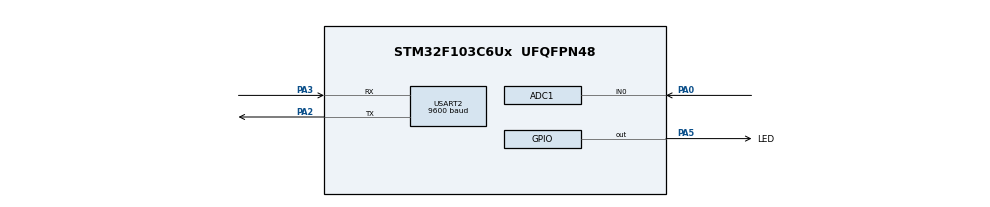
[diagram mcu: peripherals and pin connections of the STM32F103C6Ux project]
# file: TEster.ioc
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ADC1.Channel-0\#ChannelRegularConversion=ADC_CHANNEL_0
ADC1.ContinuousConvMode=ENABLE
ADC1.NbrOfConversionFlag=1
ADC1.Rank-0\#ChannelRegularConversion=1
ADC1.SamplingTime-0\#ChannelRegularConversion=ADC_SAMPLETIME_1CYCLE_5
ADC1.master=1
Mcu.Family=STM32F1
Mcu.Name=STM32F103C6Ux
Mcu.Package=UFQFPN48
NVIC.ADC1_2_IRQn=true\:0\:0\:false\:false\:true\:true\:true
NVIC.PriorityGroup=NVIC_PRIORITYGROUP_4
NVIC.TIM2_IRQn=true\:0\:0\:false\:false\:true\:true\:true
NVIC.USART2_IRQn=true\:0\:0\:false\:false\:true\:true\:true
PA0-WKUP.Signal=ADCx_IN0
PA2.Mode=Asynchronous
PA2.Signal=USART2_TX
PA3.Mode=Asynchronous
PA3.Signal=USART2_RX
PA5.GPIO_Label=LED
PA5.Signal=GPIO_Output
PD0-OSC_IN.Mode=HSE-External-Oscillator
PD0-OSC_IN.Signal=RCC_OSC_IN
PD1-OSC_OUT.Mode=HSE-External-Oscillator
PD1-OSC_OUT.Signal=RCC_OSC_OUT
ProjectManager.HeapSize=0x200
ProjectManager.StackSize=0x400
ProjectManager.TargetToolchain=STM32CubeIDE
RCC.APB1Freq_Value=8000000
RCC.APB2Freq_Value=8000000
SH.ADCx_IN0.0=ADC1_IN0,IN0
TIM2.Period=9
TIM2.Prescaler=7999
USART2.BaudRate=9600
USART2.VirtualMode=VM_ASYNC
VP_SYS_VS_ND.Mode=No_Debug
VP_TIM2_VS_ClockSourceINT.Mode=Internal
board=custom

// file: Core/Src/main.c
/* USER CODE BEGIN Header */
/**
  ******************************************************************************
  * @file           : main.c
  * @brief          : Main program body
  ******************************************************************************
  * @attention
  *
  * <h2><center>&copy; Copyright (c) 2023 STMicroelectronics.
  * All rights reserved.</center></h2>
  *
  * This software component is licensed by ST under BSD 3-Clause license,
  * the "License"; You may not use this file except in compliance with the
  * License. You may obtain a copy of the License at:
  *                        opensource.org/licenses/BSD-3-Clause
  *
  ******************************************************************************
  */
/* USER CODE END Header */
#include "main.h"

/* USER CODE BEGIN Includes */
#include "comand_parser.h"
#include "uart_communication.h"
#include "software_timer.h"
#include "global.h"
/* USER CODE END Includes */

ADC_HandleTypeDef hadc1;

TIM_HandleTypeDef htim2;

UART_HandleTypeDef huart2;

void SystemClock_Config(void);
static void MX_GPIO_Init(void);
static void MX_USART2_UART_Init(void);
static void MX_TIM2_Init(void);
static void MX_ADC1_Init(void);

/* USER CODE BEGIN 0 */
uint8_t index_buffer;
uint8_t temp;
uint8_t buffer[256];
uint8_t is_begin;
uint8_t buffer_flag;

void HAL_UART_RxCpltCallback ( UART_HandleTypeDef * huart ){
	if(huart->Instance == USART2){
		buffer[index_buffer++] = temp;
		if(index_buffer == MAX_BUFFER_SIZE) index_buffer = 0;

		if(temp == '!')
			is_begin = 1;

		if(temp == '#' && is_begin){
			is_begin = 0;
			buffer_flag = 1;
		}

		HAL_UART_Receive_IT(&huart2 ,&temp, 1);

	}
}
/* USER CODE END 0 */

int main(void)
{

  /* MCU Configuration--------------------------------------------------------*/

  /* Reset of all peripherals, Initializes the Flash interface and the Systick. */
  HAL_Init();

  /* Configure the system clock */
  SystemClock_Config();

  /* Initialize all configured peripherals */
  MX_GPIO_Init();
  MX_USART2_UART_Init();
  MX_TIM2_Init();
  MX_ADC1_Init();
  /* USER CODE BEGIN 2 */

  HAL_UART_Receive_IT(&huart2, &temp, 1);
  HAL_ADC_Start(&hadc1);
  HAL_TIM_Base_Start_IT(&htim2);

  index_buffer = 0;

  /* USER CODE END 2 */

  /* Infinite loop */
  /* USER CODE BEGIN WHILE */
  set_timer_blink_led(13);
  while (1)
  {
    /* USER CODE END WHILE */

    /* USER CODE BEGIN 3 */

	  if(buffer_flag == 1) {
		  command_parser_fsm();
		  buffer_flag = 0;
	  }

	  uart_communiation_fsm();

	  if(get_timer_blink_led()){
		  set_timer_blink_led(100);
		  HAL_GPIO_TogglePin(LED_GPIO_Port, LED_Pin);
	  }
  }
  /* USER CODE END 3 */
}

void SystemClock_Config(void)
{
  RCC_OscInitTypeDef RCC_OscInitStruct = {0};
  RCC_ClkInitTypeDef RCC_ClkInitStruct = {0};
  RCC_PeriphCLKInitTypeDef PeriphClkInit = {0};

  /** Initializes the RCC Oscillators according to the specified parameters
  * in the RCC_OscInitTypeDef structure.
  */
  RCC_OscInitStruct.OscillatorType = RCC_OSCILLATORTYPE_HSI;
  RCC_OscInitStruct.HSIState = RCC_HSI_ON;
  RCC_OscInitStruct.HSICalibrationValue = RCC_HSICALIBRATION_DEFAULT;
  RCC_OscInitStruct.PLL.PLLState = RCC_PLL_NONE;
  if (HAL_RCC_OscConfig(&RCC_OscInitStruct) != HAL_OK)
  {
    Error_Handler();
  }
  /** Initializes the CPU, AHB and APB buses clocks
  */
  RCC_ClkInitStruct.ClockType = RCC_CLOCKTYPE_HCLK|RCC_CLOCKTYPE_SYSCLK
                              |RCC_CLOCKTYPE_PCLK1|RCC_CLOCKTYPE_PCLK2;
  RCC_ClkInitStruct.SYSCLKSource = RCC_SYSCLKSOURCE_HSI;
  RCC_ClkInitStruct.AHBCLKDivider = RCC_SYSCLK_DIV1;
  RCC_ClkInitStruct.APB1CLKDivider = RCC_HCLK_DIV1;
  RCC_ClkInitStruct.APB2CLKDivider = RCC_HCLK_DIV1;

  if (HAL_RCC_ClockConfig(&RCC_ClkInitStruct, FLASH_LATENCY_0) != HAL_OK)
  {
    Error_Handler();
  }
  PeriphClkInit.PeriphClockSelection = RCC_PERIPHCLK_ADC;
  PeriphClkInit.AdcClockSelection = RCC_ADCPCLK2_DIV2;
  if (HAL_RCCEx_PeriphCLKConfig(&PeriphClkInit) != HAL_OK)
  {
    Error_Handler();
  }
}

static void MX_ADC1_Init(void)
{

  ADC_ChannelConfTypeDef sConfig = {0};

  /** Common config
  */
  hadc1.Instance = ADC1;
  hadc1.Init.ScanConvMode = ADC_SCAN_DISABLE;
  hadc1.Init.ContinuousConvMode = ENABLE;
  hadc1.Init.DiscontinuousConvMode = DISABLE;
  hadc1.Init.ExternalTrigConv = ADC_SOFTWARE_START;
  hadc1.Init.DataAlign = ADC_DATAALIGN_RIGHT;
  hadc1.Init.NbrOfConversion = 1;
  if (HAL_ADC_Init(&hadc1) != HAL_OK)
  {
    Error_Handler();
  }
  /** Configure Regular Channel
  */
  sConfig.Channel = ADC_CHANNEL_0;
  sConfig.Rank = ADC_REGULAR_RANK_1;
  sConfig.SamplingTime = ADC_SAMPLETIME_1CYCLE_5;
  if (HAL_ADC_ConfigChannel(&hadc1, &sConfig) != HAL_OK)
  {
    Error_Handler();
  }

}

static void MX_TIM2_Init(void)
{

  TIM_ClockConfigTypeDef sClockSourceConfig = {0};
  TIM_MasterConfigTypeDef sMasterConfig = {0};

  htim2.Instance = TIM2;
  htim2.Init.Prescaler = 7999;
  htim2.Init.CounterMode = TIM_COUNTERMODE_UP;
  htim2.Init.Period = 9;
  htim2.Init.ClockDivision = TIM_CLOCKDIVISION_DIV1;
  htim2.Init.AutoReloadPreload = TIM_AUTORELOAD_PRELOAD_DISABLE;
  if (HAL_TIM_Base_Init(&htim2) != HAL_OK)
  {
    Error_Handler();
  }
  sClockSourceConfig.ClockSource = TIM_CLOCKSOURCE_INTERNAL;
  if (HAL_TIM_ConfigClockSource(&htim2, &sClockSourceConfig) != HAL_OK)
  {
    Error_Handler();
  }
  sMasterConfig.MasterOutputTrigger = TIM_TRGO_RESET;
  sMasterConfig.MasterSlaveMode = TIM_MASTERSLAVEMODE_DISABLE;
  if (HAL_TIMEx_MasterConfigSynchronization(&htim2, &sMasterConfig) != HAL_OK)
  {
    Error_Handler();
  }

}

static void MX_USART2_UART_Init(void)
{

  huart2.Instance = USART2;
  huart2.Init.BaudRate = 9600;
  huart2.Init.WordLength = UART_WORDLENGTH_8B;
  huart2.Init.StopBits = UART_STOPBITS_1;
  huart2.Init.Parity = UART_PARITY_NONE;
  huart2.Init.Mode = UART_MODE_TX_RX;
  huart2.Init.HwFlowCtl = UART_HWCONTROL_NONE;
  huart2.Init.OverSampling = UART_OVERSAMPLING_16;
  if (HAL_UART_Init(&huart2) != HAL_OK)
  {
    Error_Handler();
  }

}

static void MX_GPIO_Init(void)
{
  GPIO_InitTypeDef GPIO_InitStruct = {0};

  /* GPIO Ports Clock Enable */
  __HAL_RCC_GPIOD_CLK_ENABLE();
  __HAL_RCC_GPIOA_CLK_ENABLE();

  /*Configure GPIO pin Output Level */
  HAL_GPIO_WritePin(LED_GPIO_Port, LED_Pin, GPIO_PIN_RESET);

  /*Configure GPIO pin : LED_Pin */
  GPIO_InitStruct.Pin = LED_Pin;
  GPIO_InitStruct.Mode = GPIO_MODE_OUTPUT_PP;
  GPIO_InitStruct.Pull = GPIO_NOPULL;
  GPIO_InitStruct.Speed = GPIO_SPEED_FREQ_LOW;
  HAL_GPIO_Init(LED_GPIO_Port, &GPIO_InitStruct);

}

/* USER CODE BEGIN 4 */

void HAL_TIM_PeriodElapsedCallback(TIM_HandleTypeDef *htim){
	timer_run();
}

/* USER CODE END 4 */

void Error_Handler(void)
{
  __disable_irq();
  while (1)
  {
  }
}

/************************ (C) COPYRIGHT STMicroelectronics *****END OF FILE****/
